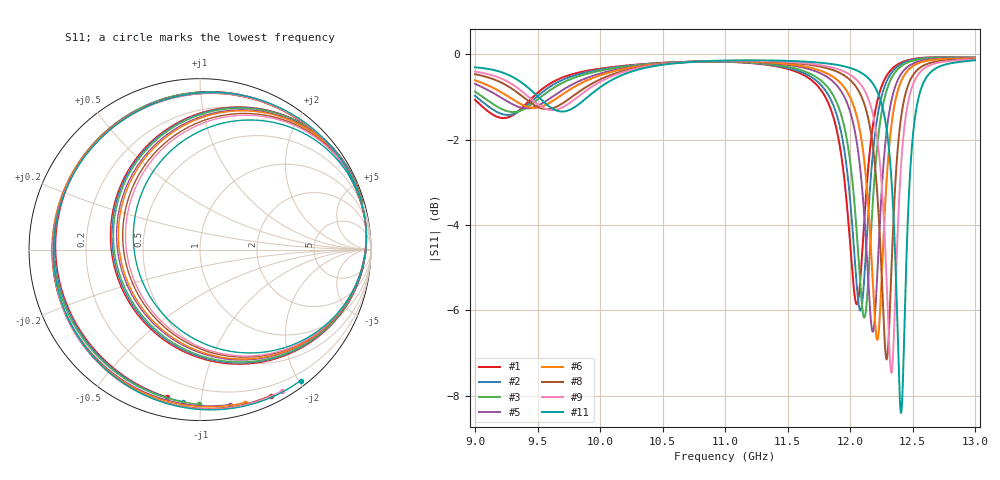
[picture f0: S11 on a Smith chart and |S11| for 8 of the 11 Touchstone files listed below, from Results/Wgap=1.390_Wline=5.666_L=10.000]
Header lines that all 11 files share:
! TOUCHSTONE file generated by CST DESIGN STUDIO
! Project name: C:\Work\MatlabApps\UnitCellOptimizationMatlab\CST\unitcell.cst
! Tree item: Tasks\Sweep1\SPara1\S-Parameters
! Header version: 2024
! Port assignment regex: !\s*Touchstone port\s*([0-9]+)\s*=\s*(CST MWS port|CST DES external port|CST DES block port)\s*(.+)\s* \(\"(.*)\"\)(\s*mode\s*([0-9]+))?.*
! Touchstone port assignment:
! Touchstone port 1 = CST DES external port 1 ("")
# GHz S MA R 50
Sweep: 9 GHz to 13 GHz
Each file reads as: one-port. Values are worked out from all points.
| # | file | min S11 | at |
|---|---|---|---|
| 1 | DS_for_MWS-run-0001.s1p | -5.9 dB | 12.05 GHz |
| 2 | DS_for_MWS-run-0002.s1p | -6.0 dB | 12.08 GHz |
| 3 | DS_for_MWS-run-0003.s1p | -6.2 dB | 12.11 GHz |
| 4 | DS_for_MWS-run-0004.s1p | -6.3 dB | 12.15 GHz |
| 5 | DS_for_MWS-run-0005.s1p | -6.5 dB | 12.18 GHz |
| 6 | DS_for_MWS-run-0006.s1p | -6.7 dB | 12.22 GHz |
| 7 | DS_for_MWS-run-0007.s1p | -6.9 dB | 12.26 GHz |
| 8 | DS_for_MWS-run-0008.s1p | -7.1 dB | 12.29 GHz |
| 9 | DS_for_MWS-run-0009.s1p | -7.5 dB | 12.33 GHz |
| 10 | DS_for_MWS-run-0010.s1p | -7.9 dB | 12.37 GHz |
| 11 | DS_for_MWS-run-0011.s1p | -8.4 dB | 12.41 GHz |
